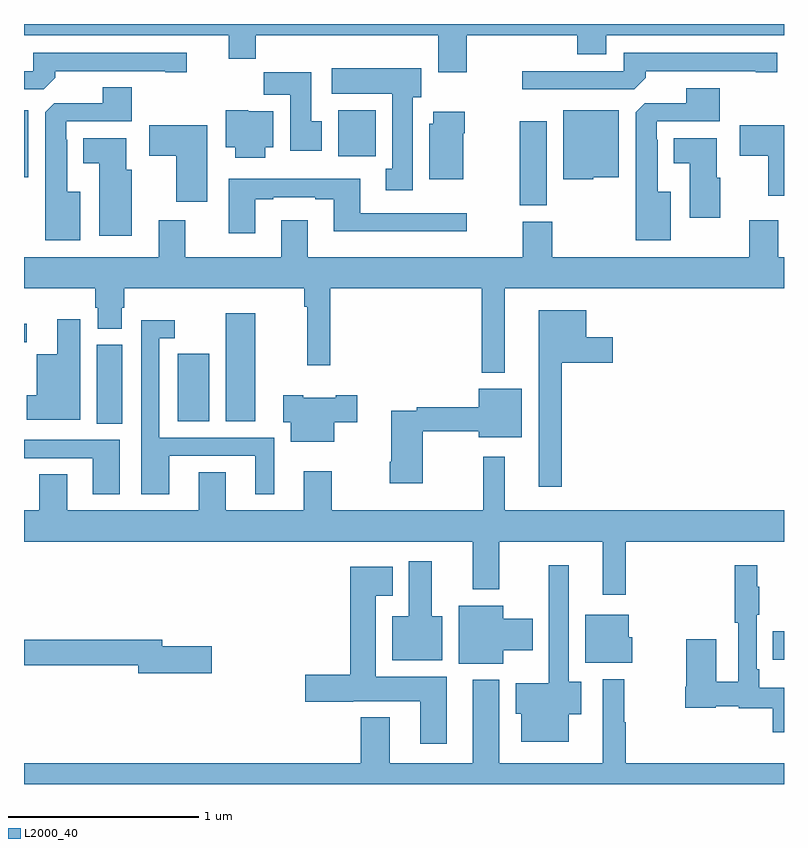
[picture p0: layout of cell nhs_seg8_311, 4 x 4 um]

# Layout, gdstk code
import gdstk
lib = gdstk.Library(unit=1e-6, precision=1e-09)
def R(c, l, rs):  # rectangles x0, y0, x1, y1
    for r in rs: c.add(gdstk.rectangle(r[:2], r[2:], *l))
def P(c, l, *ps):  # polygons
    for p in ps: c.add(gdstk.Polygon(p, *l))
L2000_40 = (2000, 40)

nhs_seg8_311 = lib.new_cell('nhs_seg8_311')
R(nhs_seg8_311, L2000_40, [(134.941,1106.555,135,1106.703), (131.384,1107.796,131.518,1108.212), (131.81,1107.808,131.974,1108.165), (132.062,1107.808,132.217,1108.378), (131,1108.224,131.014,1108.322), (133.609,1108.945,133.75,1109.389), (131,1109.093,131.023,1109.446), (132.653,1109.204,132.85,1109.446)])
P(nhs_seg8_311, L2000_40, [(133.329,1109.84),(133.913,1109.84),(133.913,1109.741),(134.065,1109.741),(134.065,1109.84),(135,1109.84),(135,1109.9),(131,1109.9),(131,1109.84),(132.077,1109.84),(132.077,1109.716),(132.221,1109.716),(132.221,1109.84),(133.181,1109.84),(133.181,1109.646),(133.329,1109.646)],
  [(131.165,1109.618),(131.165,1109.652),(131.744,1109.652),(131.744,1109.647),(131.857,1109.647),(131.857,1109.748),(131.049,1109.748),(131.049,1109.652),(131,1109.652),(131,1109.556),(131.103,1109.556)],
  [(134.273,1109.618),(134.273,1109.652),(134.852,1109.652),(134.852,1109.647),(134.965,1109.647),(134.965,1109.748),(134.157,1109.748),(134.157,1109.652),(133.623,1109.652),(133.623,1109.556),(134.211,1109.556)],
  [(133.045,1109.514),(133.09,1109.514),(133.09,1109.668),(132.621,1109.668),(132.621,1109.534),(132.938,1109.534),(132.938,1109.138),(132.905,1109.138),(132.905,1109.025),(133.045,1109.025)],
  [(132.568,1109.388),(132.511,1109.388),(132.511,1109.647),(132.262,1109.647),(132.262,1109.528),(132.401,1109.528),(132.401,1109.232),(132.568,1109.232)],
  [(131.296,1109.017),(131.227,1109.017),(131.227,1109.291),(131.223,1109.291),(131.223,1109.388),(131.567,1109.388),(131.567,1109.567),(131.414,1109.567),(131.414,1109.484),(131.16,1109.484),(131.111,1109.435),(131.111,1108.763),(131.296,1108.763)],
  [(134.404,1109.017),(134.335,1109.017),(134.335,1109.291),(134.331,1109.291),(134.331,1109.388),(134.662,1109.388),(134.662,1109.563),(134.486,1109.563),(134.486,1109.484),(134.268,1109.484),(134.219,1109.435),(134.219,1108.763),(134.404,1108.763)],
  [(132.271,1109.252),(132.313,1109.252),(132.313,1109.44),(132.18,1109.44),(132.18,1109.446),(132.062,1109.446),(132.062,1109.252),(132.113,1109.252),(132.113,1109.195),(132.271,1109.195)],
  [(133.995,1109.093),(134.131,1109.093),(134.131,1109.446),(133.838,1109.446),(133.838,1109.084),(133.995,1109.084)],
  [(133.312,1109.324),(133.32,1109.324),(133.32,1109.437),(133.154,1109.437),(133.154,1109.376),(133.133,1109.376),(133.133,1109.084),(133.312,1109.084)],
  [(131.965,1109.368),(131.658,1109.368),(131.658,1109.206),(131.801,1109.206),(131.801,1108.965),(131.965,1108.965)],
  [(135,1109.368),(134.766,1109.368),(134.766,1109.206),(134.918,1109.206),(134.918,1108.995),(135,1108.995)],
  [(134.665,1109.091),(134.647,1109.091),(134.647,1109.299),(134.42,1109.299),(134.42,1109.168),(134.504,1109.168),(134.504,1108.881),(134.665,1108.881)],
  [(131.566,1109.133),(131.539,1109.133),(131.539,1109.299),(131.312,1109.299),(131.312,1109.168),(131.396,1109.168),(131.396,1108.785),(131.566,1108.785)],
  [(132.217,1108.977),(132.313,1108.977),(132.313,1108.989),(132.533,1108.989),(132.533,1108.977),(132.629,1108.977),(132.629,1108.808),(133.33,1108.808),(133.33,1108.905),(132.769,1108.905),(132.769,1109.086),(132.077,1109.086),(132.077,1108.8),(132.217,1108.8)],
  [(133.531,1108.508),(135,1108.508),(135,1108.672),(134.969,1108.672),(134.969,1108.867),(134.816,1108.867),(134.816,1108.672),(133.779,1108.672),(133.779,1108.86),(133.624,1108.86),(133.624,1108.672),(132.493,1108.672),(132.493,1108.867),(132.353,1108.867),(132.353,1108.672),(131.848,1108.672),(131.848,1108.867),(131.708,1108.867),(131.708,1108.672),(131,1108.672),(131,1108.508),(131.375,1108.508),(131.375,1108.407),(131.387,1108.407),(131.387,1108.297),(131.515,1108.297),(131.515,1108.407),(131.528,1108.407),(131.528,1108.508),(132.475,1108.508),(132.475,1108.412),(132.49,1108.412),(132.49,1108.104),(132.611,1108.104),(132.611,1108.508),(133.41,1108.508),(133.41,1108.064),(133.531,1108.064)],
  [(133.831,1108.118),(134.098,1108.118),(134.098,1108.252),(133.96,1108.252),(133.96,1108.393),(133.709,1108.393),(133.709,1107.465),(133.831,1107.465)],
  [(131.296,1108.345),(131.174,1108.345),(131.174,1108.162),(131.066,1108.162),(131.066,1107.946),(131.015,1107.946),(131.015,1107.818),(131.296,1107.818)],
  [(131.764,1107.627),(132.218,1107.627),(132.218,1107.426),(132.316,1107.426),(132.316,1107.723),(131.712,1107.723),(131.712,1108.245),(131.794,1108.245),(131.794,1108.342),(131.616,1108.342),(131.616,1107.426),(131.764,1107.426)],
  [(133.098,1107.756),(133.394,1107.756),(133.394,1107.725),(133.621,1107.725),(133.621,1107.979),(133.394,1107.979),(133.394,1107.884),(133.066,1107.884),(133.066,1107.864),(132.932,1107.864),(132.932,1107.595),(132.925,1107.595),(132.925,1107.483),(133.098,1107.483)],
  [(132.634,1107.805),(132.754,1107.805),(132.754,1107.947),(132.641,1107.947),(132.641,1107.934),(132.469,1107.934),(132.469,1107.947),(132.365,1107.947),(132.365,1107.805),(132.404,1107.805),(132.404,1107.701),(132.634,1107.701)],
  [(131.503,1107.711),(131,1107.711),(131,1107.615),(131.363,1107.615),(131.363,1107.426),(131.503,1107.426)],
  [(134.167,1107.176),(135,1107.176),(135,1107.34),(133.531,1107.34),(133.531,1107.622),(133.417,1107.622),(133.417,1107.34),(132.621,1107.34),(132.621,1107.547),(132.473,1107.547),(132.473,1107.34),(132.061,1107.34),(132.061,1107.542),(131.921,1107.542),(131.921,1107.34),(131.227,1107.34),(131.227,1107.53),(131.08,1107.53),(131.08,1107.34),(131,1107.34),(131,1107.176),(133.361,1107.176),(133.361,1106.924),(133.501,1106.924),(133.501,1107.176),(134.045,1107.176),(134.045,1106.895),(134.167,1106.895)],
  [(133.201,1106.782),(133.147,1106.782),(133.147,1107.073),(133.025,1107.073),(133.025,1106.782),(132.938,1106.782),(132.938,1106.552),(133.201,1106.552)],
  [(133.867,1106.267),(133.933,1106.267),(133.933,1106.438),(133.867,1106.438),(133.867,1107.052),(133.763,1107.052),(133.763,1106.431),(133.589,1106.431),(133.589,1106.271),(133.616,1106.271),(133.616,1106.123),(133.867,1106.123)],
  [(135,1106.407),(134.869,1106.407),(134.869,1106.503),(134.856,1106.503),(134.856,1106.791),(134.869,1106.791),(134.869,1106.939),(134.858,1106.939),(134.858,1107.052),(134.74,1107.052),(134.74,1106.749),(134.76,1106.749),(134.76,1106.438),(134.644,1106.438),(134.644,1106.662),(134.486,1106.662),(134.486,1106.413),(134.479,1106.413),(134.479,1106.302),(134.64,1106.302),(134.64,1106.31),(134.763,1106.31),(134.763,1106.298),(134.941,1106.298),(134.941,1106.172),(135,1106.172)],
  [(133.225,1106.464),(132.85,1106.464),(132.85,1106.891),(132.94,1106.891),(132.94,1107.043),(132.716,1107.043),(132.716,1106.474),(132.48,1106.474),(132.48,1106.332),(132.732,1106.332),(132.732,1106.336),(133.085,1106.336),(133.085,1106.112),(133.225,1106.112)],
  [(133.522,1106.603),(133.678,1106.603),(133.678,1106.769),(133.522,1106.769),(133.522,1106.839),(133.289,1106.839),(133.289,1106.534),(133.522,1106.534)],
  [(134.2,1106.673),(134.182,1106.673),(134.182,1106.791),(133.955,1106.791),(133.955,1106.537),(134.2,1106.537)],
  [(131.989,1106.624),(131.728,1106.624),(131.728,1106.66),(131,1106.66),(131,1106.524),(131.6,1106.524),(131.6,1106.482),(131.989,1106.482)],
  [(134.167,1106.225),(134.159,1106.225),(134.159,1106.452),(134.045,1106.452),(134.045,1106.008),(133.501,1106.008),(133.501,1106.449),(133.361,1106.449),(133.361,1106.008),(132.925,1106.008),(132.925,1106.251),(132.773,1106.251),(132.773,1106.008),(131,1106.008),(131,1105.9),(135,1105.9),(135,1106.008),(134.167,1106.008)])

lib.write_gds('nhs_seg8_311.gds')
